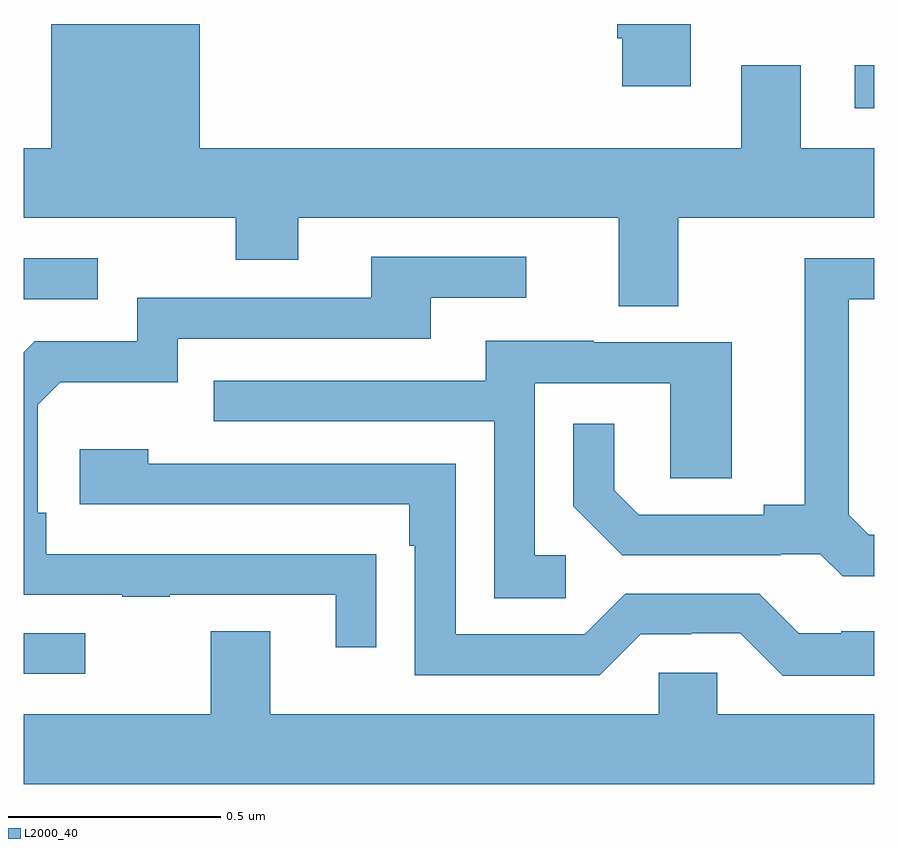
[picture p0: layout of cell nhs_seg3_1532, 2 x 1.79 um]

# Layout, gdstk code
import gdstk
lib = gdstk.Library(unit=1e-6, precision=1e-09)
def R(c, l, rs):  # rectangles x0, y0, x1, y1
    for r in rs: c.add(gdstk.rectangle(r[:2], r[2:], *l))
def P(c, l, *ps):  # polygons
    for p in ps: c.add(gdstk.Polygon(p, *l))
L2000_40 = (2000, 40)

nhs_seg3_1532 = lib.new_cell('nhs_seg3_1532')
R(nhs_seg3_1532, L2000_40, [(130,671.871,130.144,671.967), (130,672.753,130.174,672.849), (131.955,673.202,132,673.303)])
P(nhs_seg3_1532, L2000_40, [(131.539,672.944),(132,672.944),(132,673.108),(131.827,673.108),(131.827,673.303),(131.687,673.303),(131.687,673.108),(130.414,673.108),(130.414,673.4),(130.064,673.4),(130.064,673.108),(130,673.108),(130,672.944),(130.498,672.944),(130.498,672.845),(130.645,672.845),(130.645,672.944),(131.399,672.944),(131.399,672.736),(131.539,672.736)],
  [(131.569,673.4),(131.396,673.4),(131.396,673.366),(131.408,673.366),(131.408,673.254),(131.569,673.254)],
  [(130.829,672.152),(130.727,672.152),(130.727,672.153),(130.052,672.153),(130.052,672.25),(130.032,672.25),(130.032,672.504),(130.085,672.557),(130.362,672.557),(130.362,672.66),(130.957,672.66),(130.957,672.756),(131.182,672.756),(131.182,672.852),(130.817,672.852),(130.817,672.756),(130.266,672.756),(130.266,672.654),(130.026,672.654),(130,672.628),(130,672.057),(130.231,672.057),(130.231,672.052),(130.343,672.052),(130.343,672.057),(130.733,672.057),(130.733,671.934),(130.829,671.934)],
  [(132,672.198),(131.988,672.198),(131.941,672.245),(131.941,672.753),(132,672.753),(132,672.849),(131.837,672.849),(131.837,672.269),(131.741,672.269),(131.741,672.246),(131.446,672.246),(131.389,672.303),(131.389,672.46),(131.292,672.46),(131.292,672.266),(131.408,672.15),(131.78,672.15),(131.78,672.153),(131.874,672.153),(131.926,672.101),(132,672.101)],
  [(131.275,672.15),(131.202,672.15),(131.202,672.555),(131.52,672.555),(131.52,672.331),(131.665,672.331),(131.665,672.651),(131.341,672.651),(131.341,672.655),(131.087,672.655),(131.087,672.561),(130.447,672.561),(130.447,672.465),(131.106,672.465),(131.106,672.049),(131.275,672.049)],
  [(132,671.971),(131.923,671.971),(131.923,671.967),(131.823,671.967),(131.73,672.06),(131.415,672.06),(131.319,671.964),(131.016,671.964),(131.016,672.366),(130.292,672.366),(130.292,672.4),(130.131,672.4),(130.131,672.27),(130.907,672.27),(130.907,672.173),(130.92,672.173),(130.92,671.868),(131.355,671.868),(131.451,671.964),(131.57,671.964),(131.57,671.967),(131.685,671.967),(131.785,671.867),(132,671.867)],
  [(132,671.776),(131.631,671.776),(131.631,671.874),(131.493,671.874),(131.493,671.776),(130.579,671.776),(130.579,671.971),(130.439,671.971),(130.439,671.776),(130,671.776),(130,671.612),(132,671.612)])

lib.write_gds('nhs_seg3_1532.gds')
